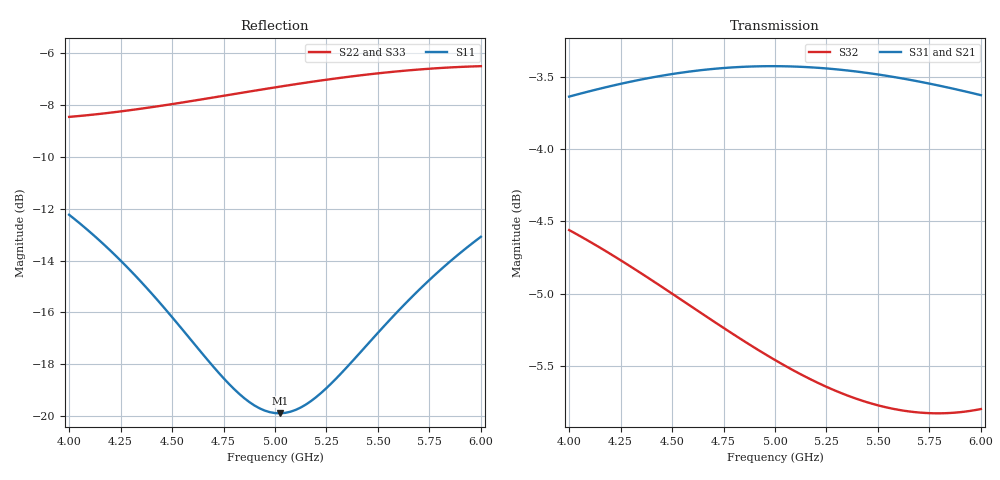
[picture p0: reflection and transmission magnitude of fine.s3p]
! yapnr rf: divider-osh-w-star-s21, footprint re-simulated (refine 2)
! spec sha256 6a0819c2165f1f3fb6c0d0ea0c815247ba98a17c61dd25aaa3f8939cffdd7012
! 3 ports renormalized to 50 ohm, e^(+jwt) convention
# GHz S RI R 50
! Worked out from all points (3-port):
!   81 points, 4 GHz to 6 GHz, reference 50 ohm
!   strongest paths, dB at 4 GHz, 4.5 GHz, 5 GHz, 5.5 GHz, 6 GHz:
!     S31: -3.6, -3.5, -3.4, -3.5, -3.6
!     S21: -3.6, -3.5, -3.4, -3.5, -3.6
!     S32: -4.6, -5.0, -5.5, -5.8, -5.8
!   lowest |S11| = -19.9 dB at 5.025 GHz (marker M1), VSWR 1.23, Z = 60.7 - j3.49 ohm
!   |S11| at or under -10 dB: start of sweep to end of sweep
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4  0.0183 0.2437  -0.6396 -0.1545  -0.6396 -0.1545
   -0.6392 -0.1554  0.3618 -0.1069  -0.498 0.3191
   -0.6392 -0.1554  -0.498 0.3191  0.3618 -0.1069
4.25  0.0651 0.1886  -0.664 -0.0234  -0.664 -0.0234
      -0.6641 -0.0248  0.3155 -0.2233  -0.4023 0.4143
      -0.6641 -0.0248  -0.4023 0.4143  0.3155 -0.2233
4.5  0.0958 0.1222  -0.6595 0.1135  -0.6595 0.1135
     -0.6604 0.1117  0.2362 -0.3219  -0.2922 0.4804
     -0.6604 0.1117  -0.2922 0.4804  0.2362 -0.3219
4.825  0.1069 0.0283  -0.6077 0.2875  -0.6077 0.2875
       -0.6098 0.2859  0.0955 -0.4079  -0.1425 0.5238
       -0.6098 0.2859  -0.1425 0.5238  0.0955 -0.4079
5  0.0991 -0.0215  -0.5589 0.3737  -0.5589 0.3737
   -0.5616 0.3725  0.00888 -0.4299  -0.0638 0.5295
   -0.5616 0.3725  -0.0638 0.5295  0.00888 -0.4299
5.025  0.0973 -0.0284  -0.5508 0.3854  -0.5508 0.3854
       -0.5536 0.3843  -0.00378 -0.4315  -0.0528 0.5295
       -0.5536 0.3843  -0.0528 0.5295  -0.00378 -0.4315
5.2  0.0794 -0.0745  -0.487 0.4616  -0.487 0.4616
     -0.4903 0.4612  -0.0928 -0.4322  0.022 0.5236
     -0.4903 0.4612  0.022 0.5236  -0.0928 -0.4322
5.475  0.0366 -0.1364  -0.3649 0.5584  -0.3649 0.5584
       -0.3687 0.5593  -0.2267 -0.3962  0.1315 0.4979
       -0.3687 0.5593  0.1315 0.4979  -0.2267 -0.3962
5.75  -0.0188 -0.1821  -0.224 0.6222  -0.224 0.6222
      -0.2274 0.6245  -0.3404 -0.3198  0.2311 0.456
      -0.2274 0.6245  0.2311 0.456  -0.3404 -0.3198
6  -0.0749 -0.2087  -0.0873 0.649  -0.0873 0.649
   -0.0898 0.6524  -0.4162 -0.2234  0.3141 0.4055
   -0.0898 0.6524  0.3141 0.4055  -0.4162 -0.2234
